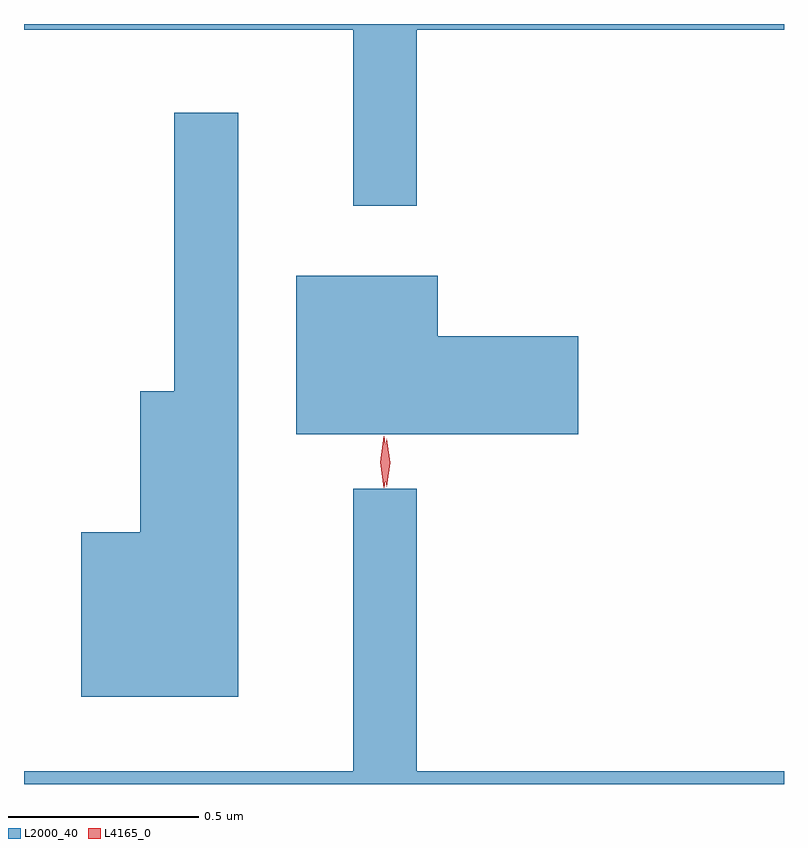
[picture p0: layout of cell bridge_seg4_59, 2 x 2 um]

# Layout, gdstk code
import gdstk
lib = gdstk.Library(unit=1e-6, precision=1e-09)
def P(c, l, *ps):  # polygons
    for p in ps: c.add(gdstk.Polygon(p, *l))
L2000_40 = (2000, 40)
L4165_0 = (4165, 0)

bridge_seg4_59 = lib.new_cell('bridge_seg4_59')
P(bridge_seg4_59, L2000_40, [(1301.389,1348.016),(1302.355,1348.016),(1302.355,1348.031),(1300.355,1348.031),(1300.355,1348.016),(1301.221,1348.016),(1301.221,1347.553),(1301.389,1347.553)],
  [(1300.919,1347.798),(1300.751,1347.798),(1300.751,1347.064),(1300.661,1347.064),(1300.661,1346.694),(1300.506,1346.694),(1300.506,1346.261),(1300.919,1346.261)],
  [(1301.814,1347.209),(1301.444,1347.209),(1301.444,1347.369),(1301.071,1347.369),(1301.071,1346.951),(1301.814,1346.951)],
  [(1302.355,1346.064),(1301.389,1346.064),(1301.389,1346.808),(1301.221,1346.808),(1301.221,1346.064),(1300.355,1346.064),(1300.355,1346.031),(1302.355,1346.031)])
P(bridge_seg4_59, L4165_0, [(1301.309,1346.813),(1301.309,1346.813),(1301.299,1346.876),(1301.309,1346.939),(1301.309,1346.94),(1301.31,1346.939),(1301.319,1346.876),(1301.31,1346.813)],
  [(1301.302,1346.81),(1301.293,1346.878),(1301.302,1346.946),(1301.302,1346.946),(1301.303,1346.946),(1301.312,1346.878),(1301.303,1346.81),(1301.303,1346.81)])

lib.write_gds('bridge_seg4_59.gds')
